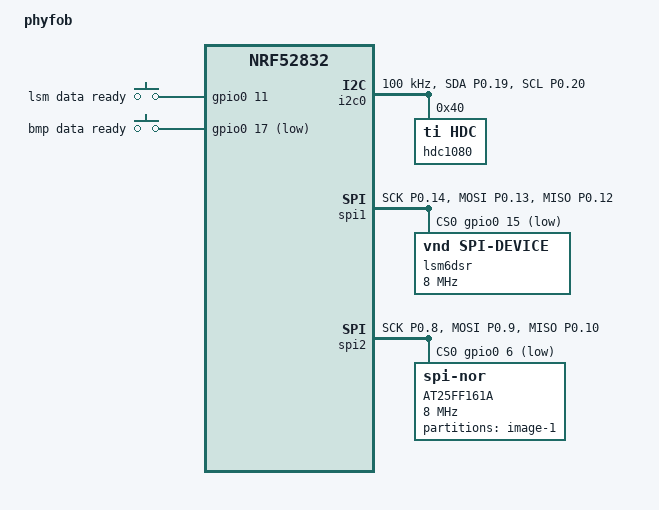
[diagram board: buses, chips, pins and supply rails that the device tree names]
/*
 * Copyright (c) 2017 Linaro Limited
 *
 * SPDX-License-Identifier: Apache-2.0
 */

 /dts-v1/;
 #include <nordic/nrf52832_qfaa.dtsi>
 
 / {
	 model = "phyfob";
	 compatible = "phyphox,phyfob";
	 aliases {
		i2c = &i2c0;
		spi= &spi1;
		spi2= &spi2;
		hdc = &hdc_node;
	 };
 
	 chosen {
		 zephyr,console = &uart0;
		 zephyr,shell-uart = &uart0;
		 zephyr,uart-mcumgr = &uart0;
		 zephyr,bt-mon-uart = &uart0;
		 zephyr,bt-c2h-uart = &uart0;
		 zephyr,sram = &sram0;
		 zephyr,flash = &flash0;
		 nordic,pm-ext-flash = &at25ff161a;
		 zephyr,code-partition = &slot0_partition;
	 };
 
	 leds {
		 compatible = "gpio-leds";		 
	 };
	buttons {
		compatible = "gpio-keys";
		button0: button_0 { // 
			gpios = <&gpio0 11 (GPIO_ACTIVE_HIGH)>;
			label = "lsm data ready";
		};
		button1: button_1 { // gpio31 P0.27
			gpios = <&gpio0 17 ( GPIO_PULL_UP | GPIO_ACTIVE_LOW)>;
			label = "bmp data ready";
		};
	};
 };

 &pinctrl {
    i2c0_default: i2c0_default {
		group1 {
			psels = <NRF_PSEL(TWIM_SDA, 0, 19)>, <NRF_PSEL(TWIM_SCL, 0, 20)>;
			bias-disable;
		};
		
	};
    i2c0_sleep: i2c0_sleep {
		group1 {
			psels = <NRF_PSEL(TWIM_SDA, 0, 19)>, <NRF_PSEL(TWIM_SCL, 0, 20)>;
			low-power-enable;
		};
		
	};
	spi_master_default: spi_master_default {
		group1 {
			psels = <NRF_PSEL(SPIM_SCK, 0, 14)>,
					<NRF_PSEL(SPIM_MOSI, 0, 13)>,
					<NRF_PSEL(SPIM_MISO, 0, 12)>;
		};
	};
	spi_master_sleep: spi_master_sleep {
		group1 {
			psels = <NRF_PSEL(SPIM_SCK, 0, 14)>,
					<NRF_PSEL(SPIM_MOSI, 0, 13)>,
					<NRF_PSEL(SPIM_MISO, 0, 12)>;
			low-power-enable;
		};
	};
	spi_flash_default: spi_flash_default {
		group1 {
			psels = <NRF_PSEL(SPIM_SCK, 0, 8)>,
					<NRF_PSEL(SPIM_MOSI, 0, 9)>,
					<NRF_PSEL(SPIM_MISO, 0, 10)>;
		};
	};
	spi_flash_sleep: spi_flash_sleep {
		group1 {
			psels = <NRF_PSEL(SPIM_SCK, 0, 8)>,
					<NRF_PSEL(SPIM_MOSI, 0, 9)>,
					<NRF_PSEL(SPIM_MISO, 0, 10)>;
			low-power-enable;
		};
	};		
};

 i2c_0: &i2c0 {
    compatible = "nordic,nrf-twim";
    status = "okay";
    //sda-pin = < 26 >;
    //scl-pin = < 6 >;
	pinctrl-0 = <&i2c0_default>;
	pinctrl-1 = <&i2c0_sleep>;
	pinctrl-names = "default", "sleep";
    label = "i2c";
    clock-frequency = <I2C_BITRATE_STANDARD>;

	hdc_node: hdc1080@40 {
		compatible =  "ti,hdc","ti,hdc1080";
		reg = <0x40>;
		label = "hdc1080";
	};
};

my_spi_master: &spi1 {
	compatible = "nordic,nrf-spi";
	status = "okay";
	pinctrl-0 = <&spi_master_default>;
	pinctrl-1 = <&spi_master_sleep>;
	pinctrl-names = "default", "sleep";
	cs-gpios = <&gpio0 15 ( GPIO_PULL_UP | GPIO_ACTIVE_LOW)>;
	
	lsm6dsr: lsm6dsr@0 {
		status = "okay";
		compatible = "vnd,spi-device";
		reg = <0>;
		spi-max-frequency = < 8000000 >;
	};
	
};

flash_spi_master: &spi2 {
	compatible = "nordic,nrf-spi";
	status = "okay";
	pinctrl-0 = <&spi_flash_default>;
	pinctrl-1 = <&spi_flash_sleep>;
	pinctrl-names = "default", "sleep";
	cs-gpios = <&gpio0 6 ( GPIO_PULL_UP | GPIO_ACTIVE_LOW)>;
	
	at25ff161a: at25ff161a@0 {
		status = "okay";
        compatible = "jedec,spi-nor";
        reg = <0>;
        spi-max-frequency = <8000000>;
        label = "AT25FF161A";
		/*[c2 28 15] [1f 46 08] (mx25)(at25)*/
        jedec-id = [c2 28 15];
        size = <0x1000000>;/* 2 MByte = 16 Mbit (DT "size" is in bits, not bytes) */
		has-dpd;
		t-enter-dpd = <3000>;
		t-exit-dpd = <160000>;
    };
	
	
};
 
 &adc {
	 status = "disabled";
 };
 
 
 &gpiote {
	 status = "okay";
 };
 
 &gpio0 {
	 status = "okay";
	 sense-edge-mask = < 0xffffffff >;
 };
 
 /*
 &gpio1 {
	 status = "okay";
 };
 */
 
 &uart0 {
	 compatible = "nordic,nrf-uarte";
	 status = "disabled";
	 //current-speed = <115200>;
	 //tx-pin = <17>;
	 //rx-pin = <8>;
	 //rts-pin = <5>;
	 //cts-pin = <7>;
 };
 
 &flash0 {
 
	partitions {
		compatible = "fixed-partitions";
		#address-cells = <1>;
		#size-cells = <1>;

		boot_partition: partition@0 {
			label = "mcuboot";
			reg = <0x00000000 0xC000>;
		};
		slot0_partition: partition@c000 {
			label = "image-0";
			reg = <0x0000C000 0x00034000>;
		};
		storage_partition: partition@40000 {
			label = "storage";
			reg = <0x00040000 0x00004000>;
		};
	};
 };
 &at25ff161a {
	partitions {
		compatible = "fixed-partitions";
		#address-cells = <1>;
		#size-cells = <1>;

		slot1_partition: partition@0 {
			label = "image-1";
			reg = <0x00000000 0x00034000>; 
		};

		/* optional weitere Partitionen, z.B. FS, settings */
	};
};

  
